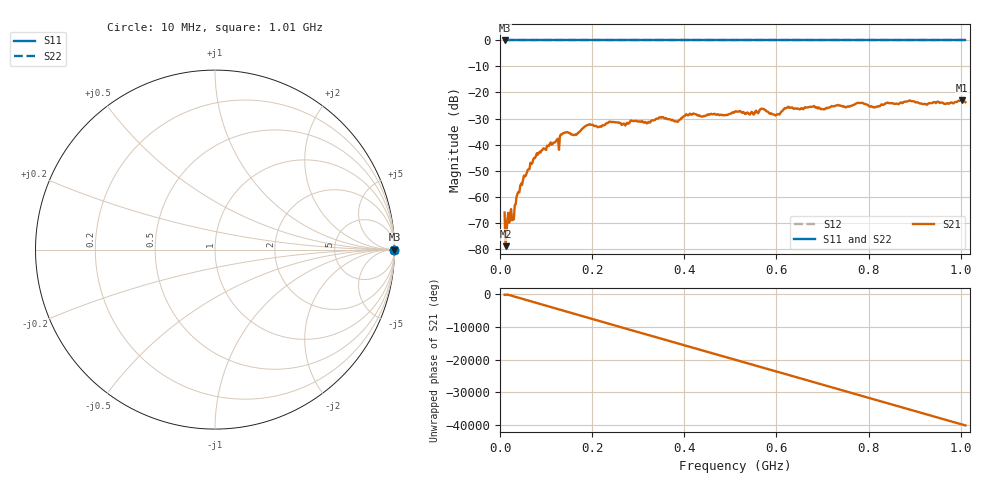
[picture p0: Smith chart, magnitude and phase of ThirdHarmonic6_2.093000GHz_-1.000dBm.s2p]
! 8/17/2025 1:03:05 AM
! C:\ANRITSUVNA\TEMP\TEMP.S2P
! CHANNEL.1
! TR.MEASUREMENT
! RAW.DATA
! RF.CORRECTION.OFF
! AVERAGING.OFF
! IF.BANDWIDTH: 5KHZ
! SWEEPTYPE:  FREQ.SWEEP(Linear)
! Reference Plane Port Info
! PORT:  PORT1  PORT2
! DISTANCE:  0  m  0  m
! TIME:  0  s  0  s
! PHASE.OFFSET:  0  deg.  0  deg.
! LOSS:  0  dB  0  dB
! REF.LOSS:  0  dB  0  dB
! REF.FREQ:  0  Hz  0  Hz
! Power Info
! POWER:  -20  dBm  -20  dBm
! EFF.POWER:  -20  dBm  -20  dBm
! SOURCE.ATTEN:  0  dB  0  dB
! TEST.ATTEN:  0  dB  0  dB
# GHZ S RI R 50.0
! FREQ.GHZ  S11RE  S11IM  S21RE  S21IM  S12RE  S12IM  S22RE  S22IM
!; PortSelection: Port_12
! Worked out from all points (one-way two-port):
!   501 points, 10 MHz to 1.01 GHz, reference 50 ohm
!   highest |S21| = -22.99 dB at 1.002 GHz (marker M1); lowest = -79.1 dB at 12 MHz (marker M2)
!   lowest |S11| = 0.0 dB at 10 MHz (marker M3)
!   |S11| at or under -10 dB: nowhere
!   |S22| runs from 0.0 to 0.0 dB; largest |S21 - S12| = 1.1
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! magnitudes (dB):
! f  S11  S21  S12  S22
! 10 MHz  0.0  -66.1  0.0  0.0
! 12 MHz  0.0  -79.1  0.0  0.0
! 16 MHz  0.0  -69.1  0.0  0.0
! 20 MHz  0.0  -70.0  0.0  0.0
! 30 MHz  0.0  -68.7  0.0  0.0
! 36 MHz  0.0  -60.1  0.0  0.0
! 48 MHz  0.0  -55.5  0.0  0.0
! 76 MHz  0.0  -45.2  0.0  0.0
! 136 MHz  0.0  -35.8  0.0  0.0
! 162 MHz  0.0  -36.4  0.0  0.0
! 178 MHz  0.0  -34.0  0.0  0.0
! 344 MHz  0.0  -29.9  0.0  0.0
! 382 MHz  0.0  -31.1  0.0  0.0
! 408 MHz  0.0  -28.8  0.0  0.0
! 510 MHz  0.0  -27.3  0.0  0.0
! 570 MHz  0.0  -26.3  0.0  0.0
! 602 MHz  0.0  -28.3  0.0  0.0
! 622 MHz  0.0  -25.9  0.0  0.0
! 678 MHz  0.0  -25.5  0.0  0.0
! 844 MHz  0.0  -24.1  0.0  0.0
! 1.002 GHz  0.0  -23.0  0.0  0.0
! 1.01 GHz  0.0  -23.7  0.0  0.0
